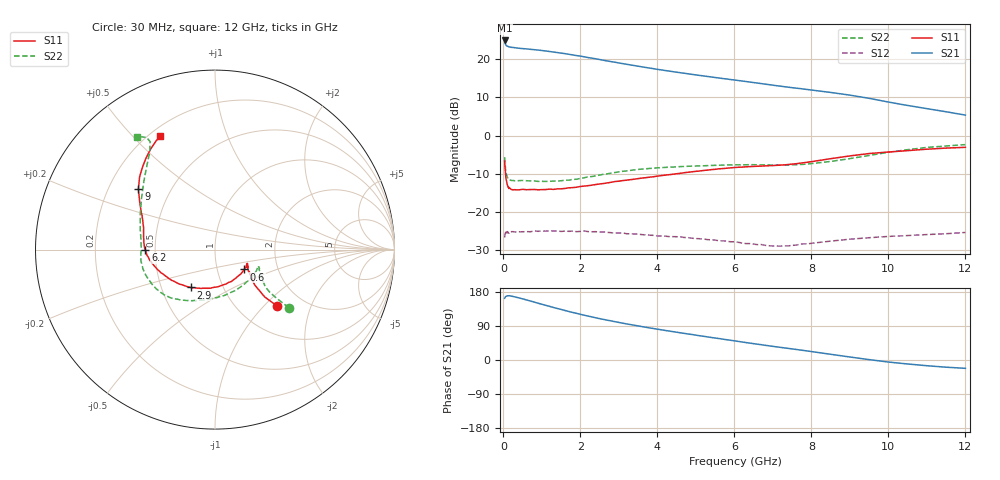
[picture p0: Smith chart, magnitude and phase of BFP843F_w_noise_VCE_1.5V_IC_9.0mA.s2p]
! Infineon Technologies  Discrete & RF Semiconductors
! BFP843F
! VCE =  1.5 V,  IC =  9.0 mA
! Common Emitter S-Parameters:  Aug 2013
# GHz  S  MA  R  50
!  f  S11  S21  S12  S22
! GHz  MAG  ANG  MAG  ANG  MAG  ANG  MAG  ANG
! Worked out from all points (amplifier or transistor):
!   103 points, 30 MHz to 12 GHz, reference 50 ohm
!   highest |S21| = 24.9 dB at 30 MHz (marker M1)
!   |S21| within 3 dB of that: start of sweep to 1.28 GHz
!   unconditionally stable (mu >= 1): 194.9 MHz to 789.7 MHz; 874.9 MHz to 906 MHz; 2.489 GHz to end of sweep
!   at 400 MHz: K = 1.01, MAG = 23.5 dB, |S12| = -25.1 dB
!   at 3.7 GHz: K = 1.11, MAG = 19.9 dB, |S12| = -26.0 dB
!   at 12 GHz: K = 1.35, MAG = 11.8 dB, |S12| = -25.3 dB
!   lowest NFmin = 0.79 dB at 450 MHz
!   S11 on the Smith chart (normalised r, x): 30 MHz: 1.48, -1.18; 600 MHz: 1.35, -0.31; 2.9 GHz: 0.70, -0.32; 6.2 GHz: 0.44, -0.00; 9 GHz: 0.33, +0.31; 12 GHz: 0.24, +0.60
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0.03  0.4647 -42.3  17.63 163.0  0.0465 29.2  0.5241 -38.2
0.04  0.3821 -43.6  16.54 164.0  0.0513 23.7  0.4391 -38.3
0.05  0.3369 -42.7  15.81 166.6  0.053 18.1  0.3866 -37.9
0.07  0.2666 -39.0  15.21 168.2  0.0519 13.2  0.3247 -33.8
0.15  0.2093 -27.8  14.54 169.6  0.055 8.0  0.2661 -22.6
0.6  0.1962 -34.4  13.68 158.5  0.0555 1.5  0.2572 -31.8
0.9  0.1959 -48.6  13.2 149.8  0.056 0.0  0.2521 -45.8
1.3  0.1981 -67.3  12.45 138.6  0.0565 -2.0  0.2545 -65.1
1.7  0.2077 -85.2  11.63 128.0  0.056 -3.5  0.2616 -83.3
2.1  0.219 -100.4  10.76 118.1  0.0566 -5.2  0.2817 -99.3
2.5  0.2332 -112.9  9.915 109.1  0.0549 -7.2  0.3048 -111.7
2.9  0.2512 -122.9  9.144 101.0  0.0533 -7.4  0.3297 -121.1
3.5  0.2745 -135.4  8.106 89.9  0.0514 -9.2  0.3619 -131.5
4.1  0.3004 -146.8  7.263 79.7  0.0486 -10.6  0.3813 -140.0
5.1  0.3451 -163.4  6.142 64.0  0.0448 -10.3  0.402 -153.2
6.1  0.386 -178.0  5.272 49.0  0.0402 -8.3  0.4153 -166.6
6.2  0.3877 -179.8  5.196 47.5  0.0394 -7.6  0.4161 -168.0
7.2  0.412 165.1  4.444 33.3  0.0358 2.9  0.4109 178.3
8.5  0.5 147.2  3.68 15.1  0.0417 13.0  0.4601 154.9
9  0.5437 141.7  3.394 7.9  0.0442 14.8  0.5011 144.7
10.5  0.6374 127.2  2.485 -10.5  0.0493 16.6  0.6561 123.6
12  0.704 115.7  1.86 -22.0  0.0541 20.5  0.7643 124.5
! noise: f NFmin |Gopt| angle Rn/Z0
0.45  0.79  0.05  13  0.03
0.9  0.8  0.06  29  0.04
1.5  0.85  0.06  47  0.04
1.9  0.9  0.07  67  0.05
2.4  0.94  0.07  83  0.05
3.5  0.99  0.09  117  0.1
5.5  1.1  0.16  -180  0.17
10  1.68  0.36  -116  0.27
